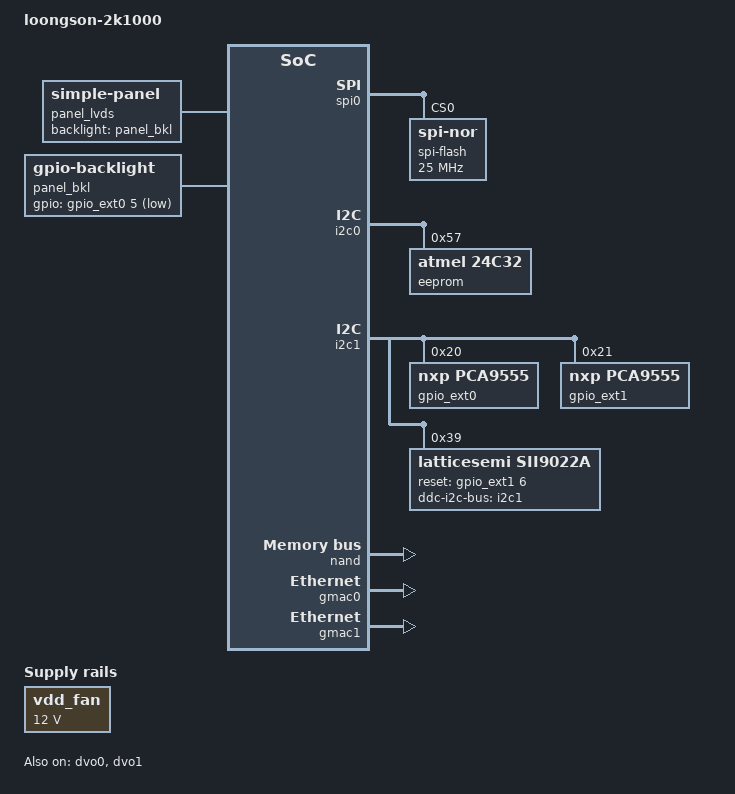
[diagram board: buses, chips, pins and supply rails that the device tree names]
#include "ls2k1000.dtsi"
#include <dt-bindings/gpio/gpio.h>

/ {
	model = "loongson-2k1000";

	chosen {
		stdout-path = "serial0:115200n8";
		bootargs = "earlycon";
	};

	sysinfo-smbios {
		compatible = "u-boot,sysinfo-smbios";
		u-boot,dm-pre-reloc;

		smbios {
			system {
				manufacturer = "Loongson";
				product = "LS2K1000";
			};

			baseboard {
				manufacturer = "Loongson";
				product = "LS2K1000-JL-MB-MU";
			};

			chassis {
				manufacturer = "Loongson";
				product = "LS2K1000-JL-MB-MU";
			};
		};
	};

	memory {
		name = "memory";
		device_type = "memory";
		reg =  <0x90000000 0x00000000 0 0x10000000
			0x90000000 0x90000000 0 0x70000000>;
		u-boot,dm-pre-reloc;
	};

	reserved-memory {
		#address-cells = <2>;
		#size-cells = <2>;
		ranges;

		bootparam: bootparam_region {
			reg = <0x90000000 0x0f000000 0x0 0x1000000>;
			no-map;
		};
	};

	mc0: ram@0 {
		compatible = "loongson,ls2k1000-ddr";
		u-boot,dm-pre-reloc;

		soc-config-reg = <0x1fe00424>;
		mc-disable-offs = <8>;
		mc-default-offs = <9>;

		sdram-type = "ddr3";	// ddr2/ddr3
		dimm-type = "udimm";	// rdimm/udimm/sodimm

		cs-map = <0x1>;		// bit map: 	bit0 -- cs0
					// 		bit1 -- cs1
					//		bit2 -- cs2
					//		bit3 -- cs3

		data-width = <64>;	// 16/32/64
		sdram-width = <16>;	// 8/16
		sdram-banks = <8>;	// 2/4/8
		sdram-rows = <15>;
		sdram-cols = <10>;

		clk-latency = <0x30>;
		rd-latency = <0x9>;
		wr-latency = <0x4>;
		cmd-timing-mode = <1>;	// 0: 1T mode; 1(default): 2T mode; 2: 3T mode.

		// To enable the feature below, uncomment it.
		/* ecc-enable; */
		/* addr-mirror; */
		/* multi-channel; */
		reset-revert;
	};

	vdd_fan: regulator-fan {
		compatible = "regulator-gpio";
		regulator-name = "vdd-fan";
		regulator-min-microvolt = <0>;
		regulator-max-microvolt = <12000000>;
		regulator-init-microvolt = <12000000>;
		regulator-type = "voltage";
		regulator-boot-on;
		regulator-always-on;
		enable-active-high;
		states = <0 0x0 12000000 0x1>;
		gpios = <&gpio_ext0 0 GPIO_ACTIVE_HIGH>;
	};

	panel_lvds: panel-lvds {
		compatible = "simple-panel";
		backlight = <&panel_bkl>;

		display-timings {
			native-mode = <&timing0>;

			timing0: 1028x800p32 {
				clock-frequency = <71000000>;
				hactive = <1280>;
				vactive = <800>;
				hsync-len = <32>;
				hfront-porch = <8>;
				hback-porch = <10>;
				vfront-porch = <3>;
				vback-porch = <3>;
				vsync-len = <6>;
				de-active = <1>;
				hsync-active = <0>;
				vsync-active = <0>;
				pixelclk-active = <0>;
			};
		};
	};

	panel_bkl: backlight {
		compatible = "gpio-backlight";
		gpios = <&gpio_ext0 5 GPIO_ACTIVE_LOW>;
		default-on;
		status = "okay";
	};
};

&ls2k1000_LA_soc {
	usb_config_type = <1>;
};

&spi0 {
	status = "okay";

	spi-flash@0 {
		compatible = "jedec,spi-nor";
		spi-max-frequency = <25000000>; /* input clock */
		reg = <0>; /* CS0 */
	};
};

&i2c0 {
    status = "okay";

    eeprom@57 {
        compatible = "atmel,24c32";
        reg = <0x57>;
        pagesize = <32>;
    };
};

&i2c1 {
	status = "okay";

	gpio_ext0: gpio@20 {
		compatible = "nxp,pca9555";
		reg = <0x20>;
		gpio-controller;
		#gpio-cells = <2>;

		lvds-shtdn {
		    gpio-hog;
		    gpios = <4 GPIO_ACTIVE_HIGH>;
		    output-high;
		    line-name = "lvds_shtdn";
		};
	};

	gpio_ext1: gpio@21 {
		compatible = "nxp,pca9555";
		reg = <0x21>;
		gpio-controller;
		#gpio-cells = <2>;

		gpio_ext0-int {
		    gpio-hog;
		    gpios = <7 GPIO_ACTIVE_HIGH>;
		    input;
		    line-name = "gpio_ext0_int";
		};
	};

	sii9022a: hdmi-bridge@39 {
		compatible = "latticesemi,sii9022a";
		reg = <0x39>;
		reset_gpios = <&gpio_ext1 6 GPIO_ACTIVE_HIGH>;
		ddc-i2c-bus = <&i2c1>;
	};
};

&nand {
	status = "okay";
};

&gmac0 {
	status = "okay";
};

&gmac1 {
	status = "okay";
};

&dvo0 {
	status = "okay";
	connector-type = "panel";	// panel, vga, hdmi
	connector = <&panel_lvds>;
	pix-fmt = "rgb888";
};

&dvo1 {
	status = "okay";
	connector-type = "bridge";		// panel, vga, hdmi
	pix-fmt = "rgb888";
	connector = <&sii9022a>;
};
